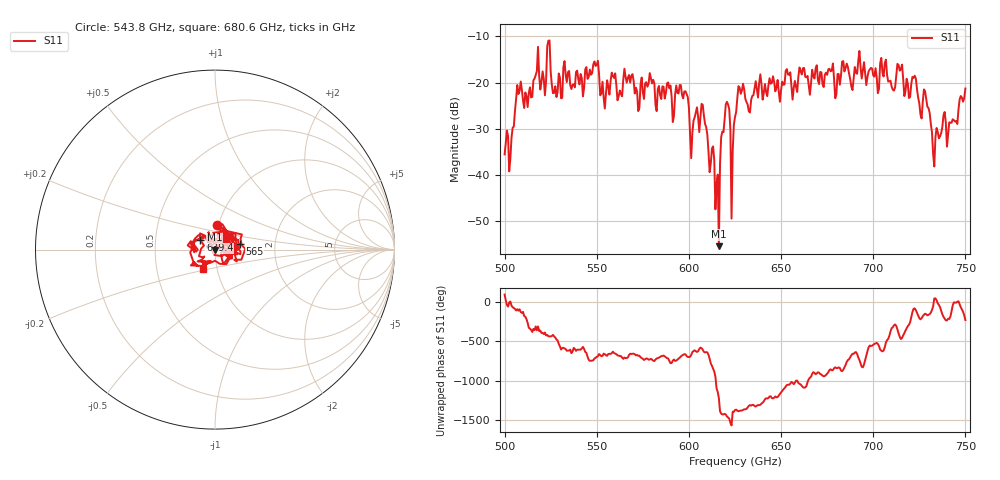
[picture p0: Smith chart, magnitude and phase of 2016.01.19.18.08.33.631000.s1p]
!Created with skrf (http://scikit-rf.org).
# GHz S RI R 50.0
!freq ReS11 ImS11
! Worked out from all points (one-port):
!   401 points, 500 GHz to 750 GHz, reference 50 ohm
!   lowest |S11| = -55.4 dB at 616.2 GHz (marker M1), VSWR 1.00, Z = 49.9 - j0.0994 ohm
!   |S11| at or under -10 dB: start of sweep to end of sweep
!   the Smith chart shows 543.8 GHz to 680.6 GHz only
!   S11 on the Smith chart (normalised r, x): 543.8 GHz: 0.99, +0.28; 565 GHz: 1.32, +0.09; 639.4 GHz: 0.85, +0.09; 680.6 GHz: 0.86, -0.18
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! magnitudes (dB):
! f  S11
! 500 GHz  -35.5
! 503.8 GHz  -31.9
! 508.1 GHz  -21.9
! 523.8 GHz  -11.0
! 526.9 GHz  -22.2
! 531.2 GHz  -23.3
! 543.8 GHz  -17.1
! 549.4 GHz  -16.4
! 562.5 GHz  -21.7
! 565 GHz  -17.0
! 593.8 GHz  -22.2
! 601.9 GHz  -30.8
! 608.1 GHz  -27.1
! 615 GHz  -41.9
! 616.2 GHz  -55.4
! 620.6 GHz  -24.2
! 623.1 GHz  -49.4
! 625 GHz  -27.4
! 628.1 GHz  -22.4
! 639.4 GHz  -20.3
! 656.2 GHz  -23.7
! 680.6 GHz  -18.2
! 687.5 GHz  -19.3
! 714.4 GHz  -17.4
! 718.8 GHz  -20.2
! 728.8 GHz  -23.6
! 733.1 GHz  -38.1
! 750 GHz  -21.3
